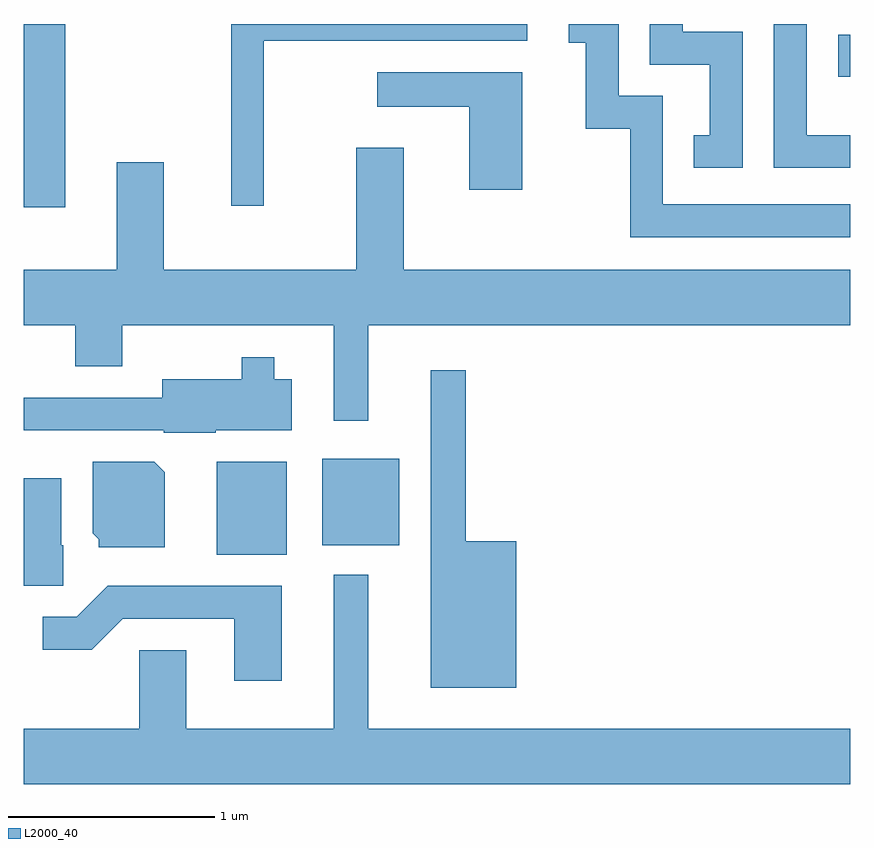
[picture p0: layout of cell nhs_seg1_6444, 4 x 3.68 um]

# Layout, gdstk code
import gdstk
lib = gdstk.Library(unit=1e-6, precision=1e-09)
def R(c, l, rs):  # rectangles x0, y0, x1, y1
    for r in rs: c.add(gdstk.rectangle(r[:2], r[2:], *l))
def P(c, l, *ps):  # polygons
    for p in ps: c.add(gdstk.Polygon(p, *l))
L2000_40 = (2000, 40)

nhs_seg1_6444 = lib.new_cell('nhs_seg1_6444')
R(nhs_seg1_6444, L2000_40, [(380.546,885.146,380.884,885.594), (381.056,885.191,381.429,885.609), (379.611,886.826,379.814,887.712), (383.551,887.456,383.611,887.659)])
P(nhs_seg1_6444, L2000_40, [(383.611,886.839),(382.704,886.839),(382.704,887.364),(382.489,887.364),(382.489,887.712),(382.248,887.712),(382.248,887.621),(382.331,887.621),(382.331,887.206),(382.546,887.206),(382.546,886.681),(383.611,886.681)],
  [(380.774,887.631),(382.048,887.631),(382.048,887.712),(380.616,887.712),(380.616,886.833),(380.774,886.833)],
  [(383.089,887.674),(382.799,887.674),(382.799,887.712),(382.641,887.712),(382.641,887.516),(382.931,887.516),(382.931,887.174),(382.853,887.174),(382.853,887.016),(383.089,887.016)],
  [(383.611,887.174),(383.399,887.174),(383.399,887.712),(383.241,887.712),(383.241,887.016),(383.611,887.016)],
  [(382.024,887.479),(381.323,887.479),(381.323,887.311),(381.766,887.311),(381.766,886.911),(382.024,886.911)],
  [(381.279,886.256),(383.611,886.256),(383.611,886.524),(381.449,886.524),(381.449,887.114),(381.221,887.114),(381.221,886.524),(380.289,886.524),(380.289,887.044),(380.061,887.044),(380.061,886.524),(379.611,886.524),(379.611,886.256),(379.861,886.256),(379.861,886.056),(380.089,886.056),(380.089,886.256),(381.111,886.256),(381.111,885.793),(381.279,885.793)],
  [(380.54,885.746),(380.909,885.746),(380.909,885.994),(380.824,885.994),(380.824,886.099),(380.666,886.099),(380.666,885.994),(380.281,885.994),(380.281,885.904),(379.611,885.904),(379.611,885.746),(380.29,885.746),(380.29,885.736),(380.54,885.736)],
  [(381.994,885.209),(381.749,885.209),(381.749,886.038),(381.581,886.038),(381.581,884.501),(381.994,884.501)],
  [(380.294,885.544),(380.244,885.594),(379.946,885.594),(379.946,885.249),(379.976,885.219),(379.976,885.181),(380.294,885.181)],
  [(379.804,885.19),(379.794,885.19),(379.794,885.514),(379.611,885.514),(379.611,884.996),(379.804,884.996)],
  [(383.611,884.304),(381.279,884.304),(381.279,885.048),(381.111,885.048),(381.111,884.304),(380.399,884.304),(380.399,884.684),(380.171,884.684),(380.171,884.304),(379.611,884.304),(379.611,884.036),(383.611,884.036)],
  [(380.859,884.994),(380.019,884.994),(379.869,884.844),(379.703,884.844),(379.703,884.686),(379.942,884.686),(380.092,884.836),(380.631,884.836),(380.631,884.536),(380.859,884.536)])

lib.write_gds('nhs_seg1_6444.gds')
